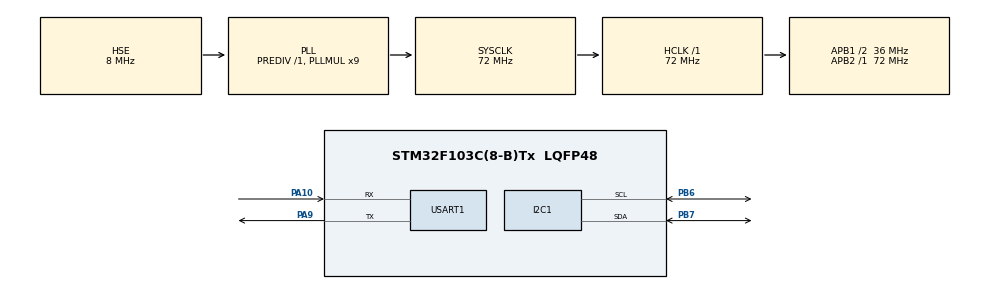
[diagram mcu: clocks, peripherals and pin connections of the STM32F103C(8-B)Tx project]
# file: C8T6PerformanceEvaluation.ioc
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Mcu.Family=STM32F1
RCC.PLLSourceVirtual=RCC_PLLSOURCE_HSE
Dma.USART1_TX.0.MemInc=DMA_MINC_ENABLE
PD1-OSC_OUT.Mode=HSE-External-Oscillator
Dma.USART1_TX.0.PeriphInc=DMA_PINC_DISABLE
PA10.Mode=Asynchronous
PD0-OSC_IN.Signal=RCC_OSC_IN
RCC.APB1CLKDivider=RCC_HCLK_DIV2
RCC.SYSCLKSource=RCC_SYSCLKSOURCE_PLLCLK
ProjectManager.StackSize=0x400
PD1-OSC_OUT.Signal=RCC_OSC_OUT
PA13.Signal=SYS_JTMS-SWDIO
TIM1.AutoReloadPreload=TIM_AUTORELOAD_PRELOAD_ENABLE
PA9.Mode=Asynchronous
Dma.USART1_TX.0.Priority=DMA_PRIORITY_HIGH
TIM1.Prescaler=7199
Dma.USART1_TX.0.Direction=DMA_MEMORY_TO_PERIPH
ProjectManager.TargetToolchain=STM32CubeIDE
RCC.HCLKFreq_Value=72000000
RCC.APB2TimFreq_Value=72000000
PA9.Signal=USART1_TX
PB6.Signal=I2C1_SCL
PB6.Mode=I2C
RCC.USBFreq_Value=72000000
RCC.AHBFreq_Value=72000000
PD0-OSC_IN.Mode=HSE-External-Oscillator
Dma.USART1_TX.0.Mode=DMA_NORMAL
board=custom
RCC.PLLMUL=RCC_PLL_MUL9
RCC.APB2Freq_Value=72000000
PA14.Mode=Serial_Wire
PB7.Signal=I2C1_SDA
PA13.Mode=Serial_Wire
Dma.USART1_TX.0.PeriphDataAlignment=DMA_PDATAALIGN_BYTE
Mcu.Name=STM32F103C(8-B)Tx
VP_TIM1_VS_ClockSourceINT.Mode=Internal
RCC.SYSCLKFreq_VALUE=72000000
Mcu.Package=LQFP48
USART1.VirtualMode=VM_ASYNC
PB7.Mode=I2C
Dma.USART1_TX.0.MemDataAlignment=DMA_MDATAALIGN_BYTE
PA10.Signal=USART1_RX
PA14.Signal=SYS_JTCK-SWCLK
NVIC.TIM1_BRK_IRQn=true\:0\:0\:false\:false\:true\:true\:true
ProjectManager.HeapSize=0x200
Dma.USART1_TX.0.Instance=DMA1_Channel4
NVIC.PriorityGroup=NVIC_PRIORITYGROUP_4
RCC.APB1TimFreq_Value=72000000
TIM1.Period=9999
NVIC.DMA1_Channel4_IRQn=true\:0\:0\:false\:false\:true\:false\:true
Dma.Request0=USART1_TX
RCC.APB1Freq_Value=36000000

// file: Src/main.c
/* USER CODE BEGIN Header */
/**
  ******************************************************************************
  * @file           : main.c
  * @brief          : Main program body
  ******************************************************************************
  * @attention
  *
  * <h2><center>&copy; Copyright (c) 2021 STMicroelectronics.
  * All rights reserved.</center></h2>
  *
  * This software component is licensed by ST under BSD 3-Clause license,
  * the "License"; You may not use this file except in compliance with the
  * License. You may obtain a copy of the License at:
  *                        opensource.org/licenses/BSD-3-Clause
  *
  ******************************************************************************
  */
/* USER CODE END Header */

#include "main.h"
#include "dma.h"
#include "i2c.h"
#include "tim.h"
#include "usart.h"
#include "gpio.h"

/* USER CODE BEGIN Includes */
#include <ms5837.h>
#include <stdio.h>
/* USER CODE END Includes */

#pragma clang diagnostic push
#pragma ide diagnostic ignored "EndlessLoop"
/* USER CODE BEGIN PV */
int i=0;
/* USER CODE END PV */

void SystemClock_Config(void);

/* USER CODE BEGIN 0 */
#ifdef __GNUC__

#define PUTCHAR_PROTOTYPE int __io_putchar(int ch)

PUTCHAR_PROTOTYPE
{
    HAL_UART_Transmit_DMA(&huart1 ,(uint8_t*)&ch, 1);
    return ch;
}
#endif
/* USER CODE END 0 */

int main(void)
{

  /* MCU Configuration--------------------------------------------------------*/

  /* Reset of all peripherals, Initializes the Flash interface and the Systick. */
  HAL_Init();

  /* Configure the system clock */
  SystemClock_Config();

  /* Initialize all configured peripherals */
  MX_GPIO_Init();
  MX_DMA_Init();
  MX_TIM1_Init();
  MX_I2C1_Init();
  MX_USART1_UART_Init();
  /* USER CODE BEGIN 2 */

    HAL_TIM_Base_Start_IT(&htim1);
    prom();
  /* USER CODE END 2 */

  /* Infinite loop */
  /* USER CODE BEGIN WHILE */
  while (1)
  {
      convert();
      i+=1;
    /* USER CODE END WHILE */

  }
}

void SystemClock_Config(void)
{
  RCC_OscInitTypeDef RCC_OscInitStruct = {0};
  RCC_ClkInitTypeDef RCC_ClkInitStruct = {0};

  /** Initializes the RCC Oscillators according to the specified parameters
  * in the RCC_OscInitTypeDef structure.
  */
  RCC_OscInitStruct.OscillatorType = RCC_OSCILLATORTYPE_HSE;
  RCC_OscInitStruct.HSEState = RCC_HSE_ON;
  RCC_OscInitStruct.HSEPredivValue = RCC_HSE_PREDIV_DIV1;
  RCC_OscInitStruct.HSIState = RCC_HSI_ON;
  RCC_OscInitStruct.PLL.PLLState = RCC_PLL_ON;
  RCC_OscInitStruct.PLL.PLLSource = RCC_PLLSOURCE_HSE;
  RCC_OscInitStruct.PLL.PLLMUL = RCC_PLL_MUL9;
  if (HAL_RCC_OscConfig(&RCC_OscInitStruct) != HAL_OK)
  {
    Error_Handler();
  }
  /** Initializes the CPU, AHB and APB buses clocks
  */
  RCC_ClkInitStruct.ClockType = RCC_CLOCKTYPE_HCLK|RCC_CLOCKTYPE_SYSCLK
                              |RCC_CLOCKTYPE_PCLK1|RCC_CLOCKTYPE_PCLK2;
  RCC_ClkInitStruct.SYSCLKSource = RCC_SYSCLKSOURCE_PLLCLK;
  RCC_ClkInitStruct.AHBCLKDivider = RCC_SYSCLK_DIV1;
  RCC_ClkInitStruct.APB1CLKDivider = RCC_HCLK_DIV2;
  RCC_ClkInitStruct.APB2CLKDivider = RCC_HCLK_DIV1;

  if (HAL_RCC_ClockConfig(&RCC_ClkInitStruct, FLASH_LATENCY_2) != HAL_OK)
  {
    Error_Handler();
  }
}

/* USER CODE BEGIN 4 */
void HAL_TIM_PeriodElapsedCallback(TIM_HandleTypeDef *htim)
{
    static unsigned char ledState = 0;
    printf("%d /r/n",i);
    i=1;
}
/* USER CODE END 4 */

void Error_Handler(void)
{
  __disable_irq();
  while (1)
  {
  }
}

/************************ (C) COPYRIGHT STMicroelectronics *****END OF FILE****/

#pragma clang diagnostic pop
